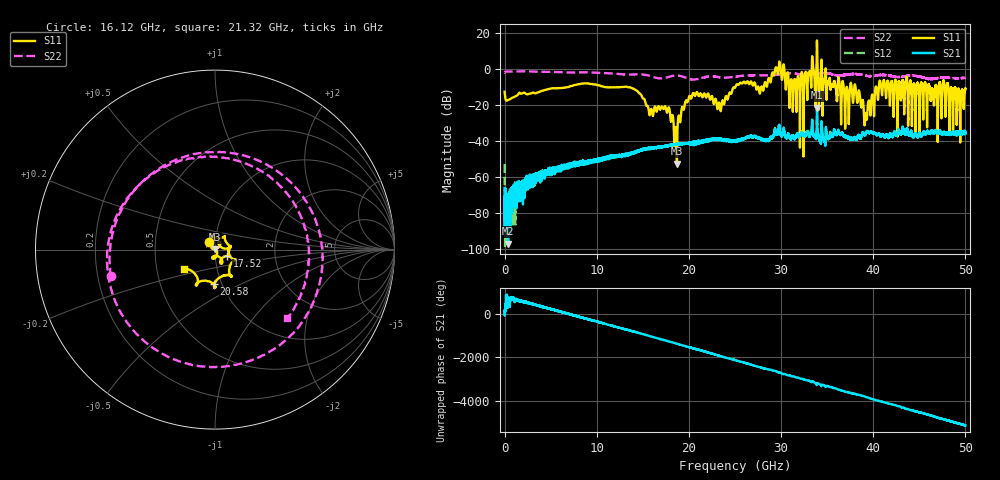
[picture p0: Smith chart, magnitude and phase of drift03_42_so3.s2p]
!Created with skrf (http://scikit-rf.org).
# Hz S RI R 50.0
!freq ReS11 ImS11 ReS21 ImS21 ReS12 ImS12 ReS22 ImS22
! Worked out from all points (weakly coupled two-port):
!   10001 points, 300 kHz to 50 GHz, reference 50 ohm
!   highest |S21| = -21.54 dB at 33.9 GHz (marker M1); lowest = -96.8 dB at 385.3 MHz (marker M2)
!   lowest |S11| = -52.5 dB at 18.7 GHz (marker M3), VSWR 1.00, Z = 50 + j0.238 ohm
!   |S11| at or under -10 dB: start of sweep to 6.949 GHz; 13.32 GHz to 25.05 GHz (11.73 GHz wide, 61.1 % of centre); 38.08 GHz to 40.27 GHz (2.19 GHz wide, 5.59 % of centre) (the widest 3 of 54)
!   |S22| runs from -5.9 to -1.3 dB; largest |S21 - S12| = 0.0073
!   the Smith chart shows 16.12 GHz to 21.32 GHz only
!   S11 on the Smith chart (normalised r, x): 16.12 GHz: 0.94, +0.08; 17.52 GHz: 1.14, -0.08; 20.58 GHz: 0.92, -0.37; 21.32 GHz: 0.69, -0.16
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300000  -0.2105 -0.0995  -0.000458 0.000202  0.00033 0.00226  -0.7633 -0.1977
3.852977e8  -0.0953 0.0995  -8.16e-06 1.2e-05  0.000203 0.000151  -0.6014 0.5963
1.540291e9  0.2061 0.0413  -1.35e-06 -0.000459  2.65e-05 -0.000433  0.85 0.0688
3.160281e9  -0.2185 -0.00842  8.01e-05 0.000634  0.000141 0.000739  -0.8446 -0.0245
4.665272e9  0.2633 0.0611  -4.97e-05 -0.0015  2.74e-05 -0.00134  0.8188 0.1421
6.360262e9  -0.2995 0.000633  0.000733 0.00196  0.000349 0.00182  -0.8039 -0.0423
8.33525e9  0.2836 -0.2676  -0.00244 -0.000848  -0.00238 -0.00082  0.6015 -0.5362
1.043024e10  -0.0427 0.3322  0.00253 -0.00176  0.00248 -0.00186  -0.0372 0.77
1.201523e10  0.00648 -0.3083  -0.00289 0.00233  -0.00273 0.00266  0.1055 -0.7303
1.61152e10  -0.0316 0.0409  0.00615 0.00217  0.00627 0.00204  -0.5788 -0.1497
1.66702e10  0.0541 0.0754  0.00485 -0.00503  0.0046 -0.00507  -0.3584 0.4185
1.752019e10  0.069 -0.0361  -0.0061 -0.004  -0.00607 -0.00399  0.4902 0.2949
1.869519e10  -1.58e-06 0.00238  0.00276 0.00781  0.00241 0.00797  -0.0885 -0.6492
2.057518e10  -0.00613 -0.1933  -0.00739 -0.00407  -0.00788 -0.00441  0.3735 0.3438
2.131517e10  -0.172 -0.1077  -0.00559 0.00834  -0.00522 0.00813  0.3985 -0.3836
2.500015e10  -0.2963 -0.0484  0.00755 0.00642  0.00739 0.00663  -0.1861 -0.5852
3.051012e10  0.2454 -0.1061  -0.00185 0.0125  -0.00231 0.012  0.7415 -0.0603
3.213011e10  0.204 0.3727  -0.00102 -0.0146  -0.000723 -0.0154  -0.6906 0.0178
3.33351e10  0.4371 -0.9839  -0.00536 0.0243  -0.00616 0.024  0.614 0.3661
3.39001e10  1.637 -5.609  0.073 0.0411  0.0716 0.0339  0.6715 -0.3284
4.167005e10  -0.2187 0.2842  -0.0115 -0.00453  -0.011 -0.00505  -0.6515 -0.0506
5e10  -0.143 -0.25  0.00179 -0.018  0.000531 -0.0152  0.4667 -0.315
